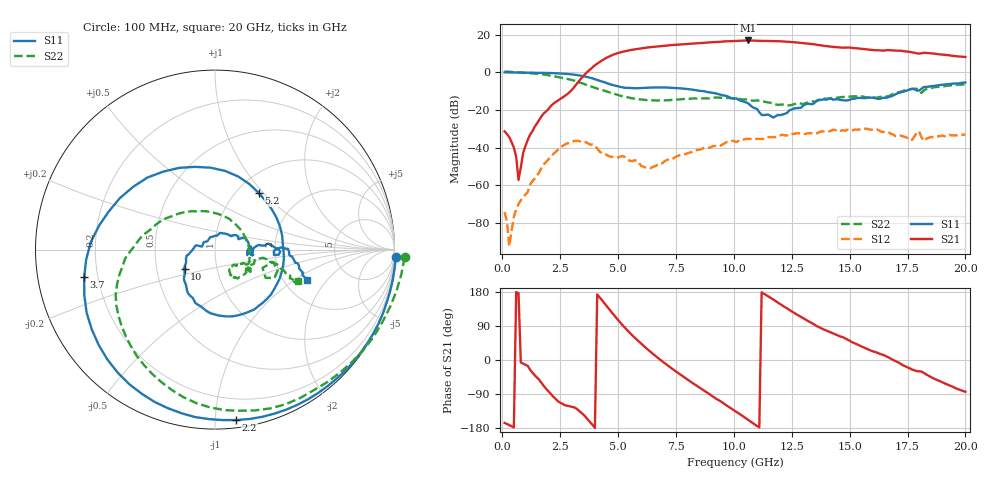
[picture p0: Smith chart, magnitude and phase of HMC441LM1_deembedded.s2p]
!Hittite Microwave Corporation
!12 Elizabeth Drive
!Chelmsford, MA 01824
!Tel: 978-250-3343
!Fax: 978-250-3373
!Device: HMC441LM1, 7-15.5 GHz GaAs PHEMT MMIc Medium Power Amplifier in SMT leadless chip carrier package
!Misc: Vdd1 = Vdd2 = +5V, Vgg1 = vgg2 = Open, Room
# MHZ S MA R 50
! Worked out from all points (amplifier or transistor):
!   200 points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, 100 MHz to 20 GHz, reference 50 ohm
!   highest |S21| = 17.0 dB at 10.6 GHz (marker M1)
!   |S21| within 3 dB of that: 6.847 GHz to 14 GHz (7.15 GHz wide, 68.6 % of centre)
!   unconditionally stable (mu >= 1): 798.7 MHz to end of sweep
!   at 3.4 GHz: K = 12.85, MAG = 2.8 dB, |S12| = -37.1 dB
!   at 10.1 GHz: K = 4.81, MAG = 17.1 dB, |S12| = -37.1 dB
!   at 20 GHz: K = 4.96, MAG = 10.8 dB, |S12| = -33.2 dB
!   S11 on the Smith chart (normalised r, x): 100 MHz: -10, -49; 2.2 GHz: 0.05, -1.13; 3.7 GHz: 0.15, -0.10; 5.2 GHz: 1.25, +0.94; 10 GHz: 0.70, -0.16; 20 GHz: 2.66, -1.27
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100  1.008 -2.2  0.027 -165.9  0.0001915 -61.0  1.057 -2.4
700  1 -24.4  0.001374 176.3  0.0003111 137.4  0.998 -34.2
2200  0.957 -82.9  0.146 -96.6  0.006678 77.1  0.797 -111.9
3500  0.797 -153.8  0.793 -143.8  0.014 -54.9  0.502 -174.5
3700  0.745 -168.1  1.069 -157.7  0.013 -76.3  0.45 177.6
4500  0.521 123.4  2.45 142.8  0.00643 -126.8  0.312 144.4
5200  0.399 52.4  3.555 91.5  0.005917 -167.0  0.231 112.7
5900  0.382 -1.2  4.28 48.6  0.003889 115.5  0.193 75.5
6800  0.398 -48.1  4.993 1.7  0.003582 99.7  0.18 29.3
7500  0.385 -74.5  5.457 -30.2  0.005697 79.6  0.189 3.6
8400  0.333 -101.6  6.001 -68.3  0.008573 60.0  0.201 -21.8
9100  0.285 -121.9  6.406 -96.6  0.011 49.6  0.209 -34.5
10000  0.201 -147.2  6.819 -132.5  0.015 34.4  0.205 -49.5
10100  0.204 -148.3  6.896 -136.2  0.014 37.2  0.204 -52.1
10600  0.153 -169.0  7.099 -157.2  0.017 27.7  0.19 -55.2
11400  0.075 150.2  6.878 170.9  0.018 20.7  0.162 -59.0
12200  0.079 81.6  6.622 139.7  0.021 9.6  0.139 -47.0
13400  0.143 23.8  5.674 96.2  0.024 -4.6  0.169 -28.1
15100  0.198 -0.2  4.508 47.2  0.028 -24.8  0.231 -29.8
16700  0.224 3.6  3.922 6.3  0.025 -63.2  0.237 -14.8
18600  0.434 -5.7  3.197 -47.8  0.019 -67.7  0.397 -16.7
20000  0.54 -18.3  2.582 -83.9  0.022 -100.6  0.494 -20.9
